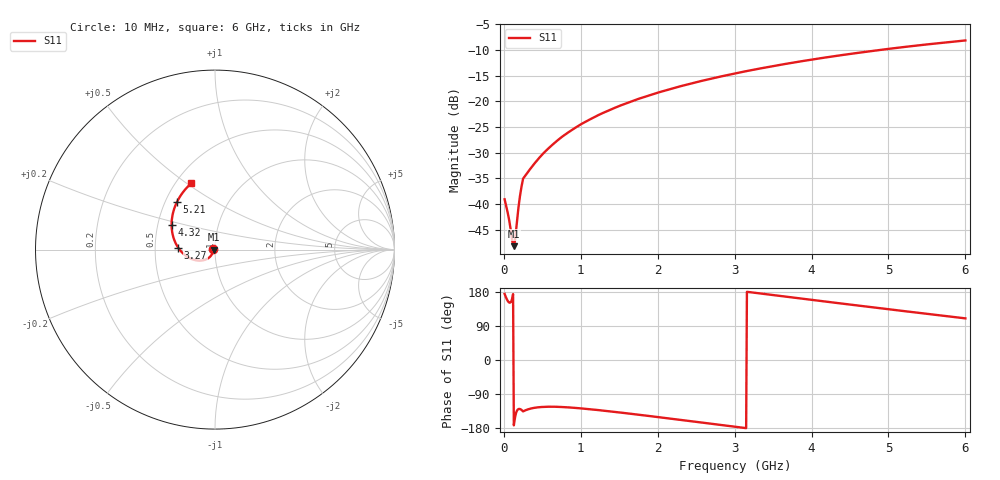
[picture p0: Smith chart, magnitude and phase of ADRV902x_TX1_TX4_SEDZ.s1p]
! Created Fri Aug 11 07:33:37 2017
! ADRV902x PRELIMINARY Packaged Device Port Z Model.
! RFIO Ports : TX1 & TX4.
! Z Format : SEDZ.
! Valid Frequency Range : 0 Ghz to 6 Ghz.
# hz S ma R 50
! 1 Port Network Data from SP2.SP block
! freq  magS11  angS11
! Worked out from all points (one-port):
!   600 points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, 10 MHz to 6 GHz, reference 50 ohm
!   lowest |S11| = -48.2 dB at 130 MHz (marker M1), VSWR 1.01, Z = 49.6 - j0.051 ohm
!   |S11| at or under -10 dB: start of sweep to 4.881 GHz
!   S11 on the Smith chart (normalised r, x): 10 MHz: 0.98, +0.00; 3.27 GHz: 0.66, +0.01; 4.32 GHz: 0.59, +0.17; 5.21 GHz: 0.57, +0.34; 6 GHz: 0.60, +0.52
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1e7  0.01114 174.4
4e7  0.008933 159.8
6e7  0.007606 153.4
1e8  0.004933 156.4
1.1e8  0.004373 163.3
1.2e8  0.003989 174.0
1.3e8  0.003894 -172.4
1.4e8  0.004166 -158.5
1.5e8  0.004787 -147.0
1.6e8  0.005678 -139.0
2e8  0.01061 -129.1
2.2e8  0.01341 -130.4
2.4e8  0.01626 -133.5
2.7e8  0.01854 -133.7
3.8e8  0.02388 -126.8
5e8  0.03047 -123.9
7.6e8  0.04545 -124.1
1.07e9  0.06384 -128.9
1.51e9  0.09085 -138.6
2.26e9  0.1382 -157.1
3.01e9  0.1876 -176.2
3.27e9  0.2051 177.2
3.76e9  0.2386 164.8
4.32e9  0.2773 150.7
4.51e9  0.2905 146.0
5.21e9  0.3389 128.9
5.26e9  0.3423 127.6
6e9  0.392 109.9
